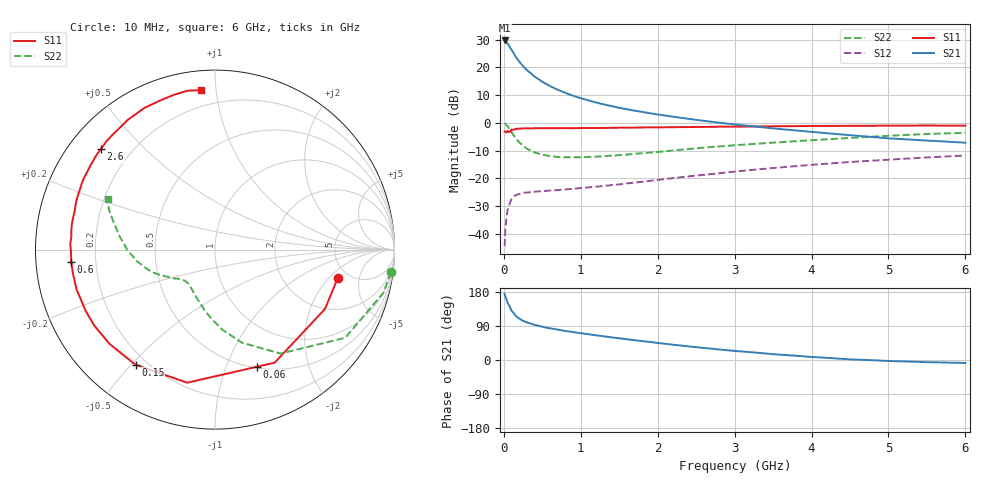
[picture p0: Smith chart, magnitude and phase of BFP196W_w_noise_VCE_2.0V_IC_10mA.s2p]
! Infineon Technologies  Discrete & RF Semiconductors
! BFP196W
! VCE =  2.0 V,  IC =  10 mA
! Common Emitter S-Parameters:  Jan 2017
# GHz  S  MA  R  50
!  f  S11  S21  S12  S22
! GHz  MAG  ANG  MAG  ANG  MAG  ANG  MAG  ANG
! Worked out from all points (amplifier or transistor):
!   77 points, 10 MHz to 6 GHz, reference 50 ohm
!   highest |S21| = 29.7 dB at 10 MHz (marker M1)
!   |S21| within 3 dB of that: start of sweep to 90.54 MHz
!   unconditionally stable (mu >= 1): 1.225 GHz to 3.337 GHz
!   at 130 MHz: K = 0.15, MSG = 25.8 dB, |S12| = -26.7 dB
!   at 2.2 GHz: K = 1.10, MAG = 9.2 dB, |S12| = -19.9 dB
!   at 6 GHz: K = 0.94, MSG = 2.3 dB, |S12| = -11.8 dB
!   lowest NFmin = 0.91 dB at 450 MHz
!   S11 on the Smith chart (normalised r, x): 10 MHz: 4.07, -2.53; 60 MHz: 0.51, -1.29; 150 MHz: 0.16, -0.51; 600 MHz: 0.11, -0.04; 2.6 GHz: 0.09, +0.38; 6 GHz: 0.10, +0.91
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0.01  0.7022 -13.0  30.67 174.6  0.006 84.3  0.9879 -7.4
0.02  0.6963 -28.4  30.11 167.3  0.0121 80.9  0.9687 -14.4
0.05  0.7124 -62.2  26.96 150.2  0.0276 62.6  0.8762 -34.1
0.06  0.6934 -70.2  25.5 146.9  0.0303 57.9  0.8282 -37.9
0.1  0.7576 -101.8  20.79 129.8  0.0423 45.4  0.6848 -57.8
0.15  0.7796 -124.6  16.02 117.5  0.0495 35.5  0.5398 -73.9
0.2  0.7882 -138.2  12.77 109.3  0.0524 30.2  0.4487 -84.7
0.25  0.7949 -147.9  10.55 103.3  0.055 27.0  0.3859 -93.0
0.3  0.7974 -154.7  8.932 99.1  0.0556 25.2  0.3433 -99.6
0.4  0.8025 -163.9  6.848 92.5  0.0575 24.3  0.2933 -109.4
0.5  0.8025 -170.1  5.514 87.7  0.0589 23.9  0.2669 -116.4
0.6  0.8043 -175.0  4.623 83.6  0.0603 24.9  0.2525 -121.9
0.7  0.8023 -178.7  3.964 80.2  0.0616 25.9  0.2432 -125.8
0.8  0.8068 177.8  3.479 76.7  0.0633 28.2  0.2408 -128.6
1.1  0.8101 169.4  2.544 68.0  0.069 32.6  0.2438 -135.2
1.5  0.8192 160.3  1.874 57.3  0.0779 37.9  0.2625 -141.8
2.1  0.8345 147.7  1.356 42.8  0.0975 43.6  0.3092 -150.9
2.6  0.8477 138.5  1.089 31.8  0.1159 45.4  0.358 -158.4
3.1  0.8587 130.1  0.909 22.4  0.1367 45.0  0.4042 -166.0
4.1  0.8819 115.1  0.671 6.9  0.1798 40.7  0.4973 178.4
5.1  0.8931 103.6  0.518 -3.2  0.2216 33.9  0.5947 163.6
6  0.8923 94.9  0.44 -7.9  0.2583 26.8  0.6622 154.6
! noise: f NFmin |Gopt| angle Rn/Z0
0.45  0.91  0.36  146  0.06
0.9  1.19  0.53  168  0.05
1.9  2.27  0.71  -158  0.1
2.4  2.77  0.76  -149  0.22
